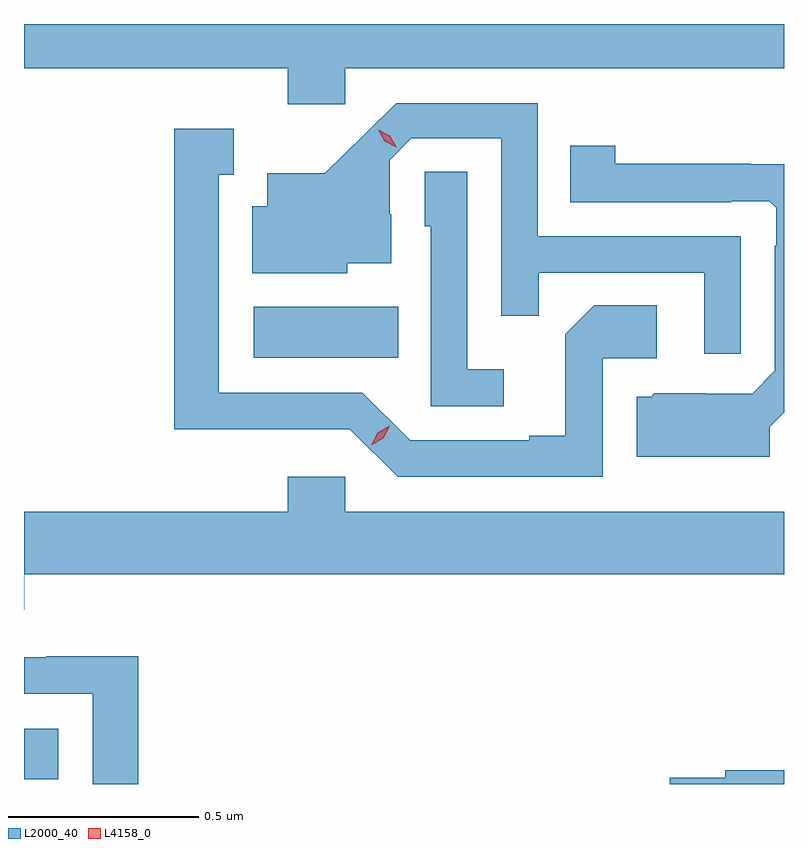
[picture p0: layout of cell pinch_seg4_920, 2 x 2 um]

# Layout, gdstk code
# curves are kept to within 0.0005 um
import gdstk
lib = gdstk.Library(unit=1e-6, precision=1e-09)
def R(c, l, rs):  # rectangles x0, y0, x1, y1
    for r in rs: c.add(gdstk.rectangle(r[:2], r[2:], *l))
def P(c, l, *ps):  # polygons
    for p in ps: c.add(gdstk.Polygon(p, *l))
L2000_40 = (2000, 40)
L4158_0 = (4158, 0)

pinch_seg4_920 = lib.new_cell('pinch_seg4_920')
R(pinch_seg4_920, L2000_40, [(749.491,821.588,749.581,821.722), (750.096,822.698,750.476,822.832)])
P(pinch_seg4_920, L2000_40, [(750.336,823.46),(751.491,823.46),(751.491,823.576),(749.491,823.576),(749.491,823.46),(750.185,823.46),(750.185,823.365),(750.336,823.365)],
  [(751.377,823.017),(750.843,823.017),(750.843,823.368),(750.47,823.368),(750.283,823.183),(750.131,823.183),(750.131,823.096),(750.092,823.096),(750.092,822.92),(750.342,822.92),(750.342,822.947),(750.457,822.947),(750.457,823.076),(750.453,823.076),(750.453,823.218),(750.51,823.275),(750.747,823.275),(750.747,822.808),(750.845,822.808),(750.845,822.921),(751.281,822.921),(751.281,822.708),(751.377,822.708)],
  [(751.014,822.696),(751.156,822.696),(751.156,822.836),(750.991,822.836),(750.915,822.76),(750.915,822.493),(750.821,822.493),(750.821,822.48),(750.507,822.48),(750.381,822.606),(750.004,822.606),(750.004,823.179),(750.043,823.179),(750.043,823.3),(749.886,823.3),(749.886,822.509),(750.126,822.509),(750.126,822.51),(750.348,822.51),(750.474,822.384),(751.014,822.384)],
  [(751.453,822.516),(751.491,822.554),(751.491,823.207),(751.403,823.207),(751.403,823.208),(751.047,823.208),(751.047,823.255),(750.928,823.255),(750.928,823.107),(751.352,823.107),(751.352,823.11),(751.452,823.11),(751.47,823.092),(751.47,822.992),(751.467,822.992),(751.467,822.663),(751.407,822.603),(751.284,822.603),(751.284,822.604),(751.15,822.604),(751.141,822.595),(751.103,822.595),(751.103,822.437),(751.453,822.437)],
  [(750.754,822.667),(750.657,822.667),(750.657,823.187),(750.546,823.187),(750.546,823.044),(750.561,823.044),(750.561,822.57),(750.754,822.57)],
  [(749.492,822.128),(751.491,822.128),(751.491,822.292),(750.336,822.292),(750.336,822.385),(750.185,822.385),(750.185,822.292),(749.491,822.292),(749.491,822.035),(749.492,822.035)],
  [(749.791,821.912),(749.55,821.912),(749.55,821.91),(749.491,821.91),(749.491,821.814),(749.672,821.814),(749.672,821.576),(749.791,821.576)],
  [(751.491,821.612),(751.336,821.612),(751.336,821.592),(751.19,821.592),(751.19,821.576),(751.491,821.576)])
P(pinch_seg4_920, L4158_0, [(750.471,823.252),(750.44,823.268),(750.423,823.298),(750.423,823.298),(750.423,823.298),(750.454,823.282),(750.471,823.253),(750.471,823.252)],
  [(750.405,822.468),(750.405,822.468),(750.422,822.5),(750.454,822.519),(750.454,822.519),(750.454,822.519),(750.437,822.486),(750.405,822.468)])

lib.write_gds('pinch_seg4_920.gds')
